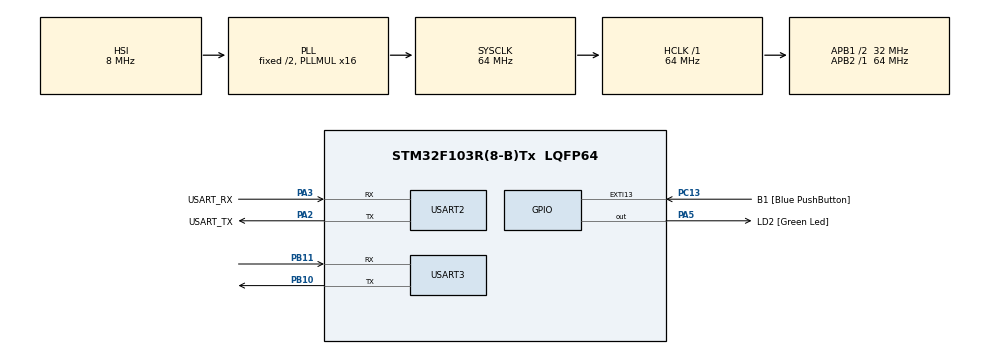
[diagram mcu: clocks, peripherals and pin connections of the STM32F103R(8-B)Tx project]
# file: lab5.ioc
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FREERTOS.Tasks01=blink,24,128,StartDefaultTask,Default,NULL,Dynamic,NULL,NULL;rx_cli,23,128,StartTask02,Default,NULL,Dynamic,NULL,NULL;status_cli,25,128,StartTask03,Default,NULL,Dynamic,NULL,NULL
Mcu.Family=STM32F1
Mcu.Name=STM32F103R(8-B)Tx
Mcu.Package=LQFP64
NVIC.EXTI15_10_IRQn=true\:0\:0\:false\:false\:true\:false\:true\:true
NVIC.PriorityGroup=NVIC_PRIORITYGROUP_4
NVIC.TIM4_IRQn=true\:0\:0\:false\:false\:true\:false\:false\:true
NVIC.TimeBase=TIM4_IRQn
NVIC.TimeBaseIP=TIM4
PA13.GPIO_Label=TMS
PA13.Mode=Serial_Wire
PA13.Signal=SYS_JTMS-SWDIO
PA14.GPIO_Label=TCK
PA14.Mode=Serial_Wire
PA14.Signal=SYS_JTCK-SWCLK
PA2.GPIO_Label=USART_TX
PA2.GPIO_Mode=GPIO_MODE_AF_PP
PA2.GPIO_PuPd=GPIO_NOPULL
PA2.GPIO_Speed=GPIO_SPEED_FREQ_LOW
PA2.Mode=Asynchronous
PA2.Signal=USART2_TX
PA3.GPIO_Label=USART_RX
PA3.GPIO_Mode=GPIO_MODE_AF_PP
PA3.GPIO_PuPd=GPIO_NOPULL
PA3.GPIO_Speed=GPIO_SPEED_FREQ_LOW
PA3.Mode=Asynchronous
PA3.Signal=USART2_RX
PA5.GPIO_Label=LD2 [Green Led]
PA5.GPIO_ModeDefaultOutputPP=GPIO_MODE_OUTPUT_PP
PA5.GPIO_PuPd=GPIO_NOPULL
PA5.GPIO_Speed=GPIO_SPEED_FREQ_LOW
PA5.Signal=GPIO_Output
PB10.Mode=Asynchronous
PB10.Signal=USART3_TX
PB11.Mode=Asynchronous
PB11.Signal=USART3_RX
PB3.GPIO_Label=SWO
PB3.Signal=SYS_JTDO-TRACESWO
PC13-TAMPER-RTC.GPIO_Label=B1 [Blue PushButton]
PC13-TAMPER-RTC.GPIO_PuPd=GPIO_NOPULL
PC13-TAMPER-RTC.Signal=GPXTI13
PC14-OSC32_IN.Mode=LSE-External-Oscillator
PC14-OSC32_IN.Signal=RCC_OSC32_IN
PC15-OSC32_OUT.Mode=LSE-External-Oscillator
PC15-OSC32_OUT.Signal=RCC_OSC32_OUT
PD0-OSC_IN.Mode=HSE-External-Clock-Source
PD0-OSC_IN.Signal=RCC_OSC_IN
PD1-OSC_OUT.Mode=HSE-External-Clock-Source
PD1-OSC_OUT.Signal=RCC_OSC_OUT
ProjectManager.HeapSize=0x200
ProjectManager.StackSize=0x400
ProjectManager.TargetToolchain=STM32CubeIDE
RCC.AHBFreq_Value=64000000
RCC.APB1CLKDivider=RCC_HCLK_DIV2
RCC.APB1Freq_Value=32000000
RCC.APB1TimFreq_Value=64000000
RCC.APB2Freq_Value=64000000
RCC.APB2TimFreq_Value=64000000
RCC.HCLKFreq_Value=64000000
RCC.PLLMUL=RCC_PLL_MUL16
RCC.RTCClockSelection=RCC_RTCCLKSOURCE_LSE
RCC.SYSCLKFreq_VALUE=64000000
RCC.SYSCLKSource=RCC_SYSCLKSOURCE_PLLCLK
RCC.USBFreq_Value=64000000
USART2.VirtualMode=VM_ASYNC
USART3.VirtualMode=VM_ASYNC
VP_FREERTOS_VS_CMSIS_V2.Mode=CMSIS_V2
VP_SYS_VS_tim4.Mode=TIM4
board=NUCLEO-F103RB

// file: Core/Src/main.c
/* USER CODE BEGIN Header */
/**
  ******************************************************************************
  * @file           : main.c
  * @brief          : Main program body
  ******************************************************************************
  * @attention
  *
  * <h2><center>&copy; Copyright (c) 2020 STMicroelectronics.
  * All rights reserved.</center></h2>
  *
  * This software component is licensed by ST under BSD 3-Clause license,
  * the "License"; You may not use this file except in compliance with the
  * License. You may obtain a copy of the License at:
  *                        opensource.org/licenses/BSD-3-Clause
  *
  ******************************************************************************
  */
/* USER CODE END Header */
#include "main.h"
#include "cmsis_os.h"
#include "stdbool.h"

UART_HandleTypeDef huart2;
UART_HandleTypeDef huart3;

/* Definitions for blink */
osThreadId_t blinkHandle;
const osThreadAttr_t blink_attributes = {
  .name = "blink",
  .priority = (osPriority_t) osPriorityNormal,
  .stack_size = 128 * 4
};
/* Definitions for rx_cli */
osThreadId_t rx_cliHandle;
const osThreadAttr_t rx_cli_attributes = {
  .name = "rx_cli",
  .priority = (osPriority_t) osPriorityBelowNormal7,
  .stack_size = 128 * 4
};
/* Definitions for status_cli */
osThreadId_t status_cliHandle;
const osThreadAttr_t status_cli_attributes = {
  .name = "status_cli",
  .priority = (osPriority_t) osPriorityNormal1,
  .stack_size = 128 * 4
};
/* USER CODE BEGIN PV */
int8_t i=0;flag=0;
uint8_t *p;
uint16_t period = 100;clirxchar=0;
uint8_t cliBufferTX[200];
uint8_t cliBufferRX[20];
bool Newperiod = false;
/* USER CODE END PV */

void SystemClock_Config(void);
static void MX_GPIO_Init(void);
static void MX_USART2_UART_Init(void);
static void MX_USART3_UART_Init(void);
void StartDefaultTask(void *argument);
void StartTask02(void *argument);
void StartTask03(void *argument);

int main(void)
{

  /* MCU Configuration--------------------------------------------------------*/

  /* Reset of all peripherals, Initializes the Flash interface and the Systick. */
  HAL_Init();

  /* Configure the system clock */
  SystemClock_Config();

  /* Initialize all configured peripherals */
  MX_GPIO_Init();
  MX_USART2_UART_Init();
  MX_USART3_UART_Init();
  /* USER CODE BEGIN 2 */

  strcpy((char*)cliBufferTX, "\x1b[2J");                                         /*clear the screen*/
  HAL_UART_Transmit(&huart3, cliBufferTX, strlen((char*)cliBufferTX),1000);
  strcpy((char*)cliBufferTX, "\x1b[0;0H");                                      /*position the cursor*/
  HAL_UART_Transmit(&huart3, cliBufferTX, strlen((char*)cliBufferTX),1000);
  HAL_UART_Transmit(&huart3, "period:  00100", 14,1000);

  strcpy((char*)cliBufferTX, "\x1b[10;r");                                       /*scroll window*/
  HAL_UART_Transmit(&huart3, cliBufferTX, strlen((char*)cliBufferTX),1000);

  strcpy((char*)cliBufferTX, "\x1b[10;0H");                                      /*position the cursor*/
  HAL_UART_Transmit(&huart3, cliBufferTX, strlen((char*)cliBufferTX),1000);

   strcpy((char*)cliBufferTX, "Testing CLI!\r\n");
   HAL_UART_Transmit(&huart3, cliBufferTX, strlen((char*)cliBufferTX),1000);

   //HAL_Delay(2000);

  /* USER CODE END 2 */

  /* Init scheduler */
  osKernelInitialize();

  /* Create the thread(s) */
  /* creation of blink */
  blinkHandle = osThreadNew(StartDefaultTask, NULL, &blink_attributes);

  /* creation of rx_cli */
  rx_cliHandle = osThreadNew(StartTask02, NULL, &rx_cli_attributes);

  /* creation of status_cli */
  status_cliHandle = osThreadNew(StartTask03, NULL, &status_cli_attributes);

  /* Start scheduler */
  osKernelStart();

  /* We should never get here as control is now taken by the scheduler */
  /* Infinite loop */
  while (1)
  {

  }
}

void SystemClock_Config(void)
{
  RCC_OscInitTypeDef RCC_OscInitStruct = {0};
  RCC_ClkInitTypeDef RCC_ClkInitStruct = {0};

  /** Initializes the RCC Oscillators according to the specified parameters
  * in the RCC_OscInitTypeDef structure.
  */
  RCC_OscInitStruct.OscillatorType = RCC_OSCILLATORTYPE_HSI;
  RCC_OscInitStruct.HSIState = RCC_HSI_ON;
  RCC_OscInitStruct.HSICalibrationValue = RCC_HSICALIBRATION_DEFAULT;
  RCC_OscInitStruct.PLL.PLLState = RCC_PLL_ON;
  RCC_OscInitStruct.PLL.PLLSource = RCC_PLLSOURCE_HSI_DIV2;
  RCC_OscInitStruct.PLL.PLLMUL = RCC_PLL_MUL16;
  if (HAL_RCC_OscConfig(&RCC_OscInitStruct) != HAL_OK)
  {
    Error_Handler();
  }
  /** Initializes the CPU, AHB and APB buses clocks
  */
  RCC_ClkInitStruct.ClockType = RCC_CLOCKTYPE_HCLK|RCC_CLOCKTYPE_SYSCLK
                              |RCC_CLOCKTYPE_PCLK1|RCC_CLOCKTYPE_PCLK2;
  RCC_ClkInitStruct.SYSCLKSource = RCC_SYSCLKSOURCE_PLLCLK;
  RCC_ClkInitStruct.AHBCLKDivider = RCC_SYSCLK_DIV1;
  RCC_ClkInitStruct.APB1CLKDivider = RCC_HCLK_DIV2;
  RCC_ClkInitStruct.APB2CLKDivider = RCC_HCLK_DIV1;

  if (HAL_RCC_ClockConfig(&RCC_ClkInitStruct, FLASH_LATENCY_2) != HAL_OK)
  {
    Error_Handler();
  }
}

static void MX_USART2_UART_Init(void)
{

  huart2.Instance = USART2;
  huart2.Init.BaudRate = 115200;
  huart2.Init.WordLength = UART_WORDLENGTH_8B;
  huart2.Init.StopBits = UART_STOPBITS_1;
  huart2.Init.Parity = UART_PARITY_NONE;
  huart2.Init.Mode = UART_MODE_TX_RX;
  huart2.Init.HwFlowCtl = UART_HWCONTROL_NONE;
  huart2.Init.OverSampling = UART_OVERSAMPLING_16;
  if (HAL_UART_Init(&huart2) != HAL_OK)
  {
    Error_Handler();
  }

}

static void MX_USART3_UART_Init(void)
{

  huart3.Instance = USART3;
  huart3.Init.BaudRate = 9600;
  huart3.Init.WordLength = UART_WORDLENGTH_8B;
  huart3.Init.StopBits = UART_STOPBITS_1;
  huart3.Init.Parity = UART_PARITY_NONE;
  huart3.Init.Mode = UART_MODE_TX_RX;
  huart3.Init.HwFlowCtl = UART_HWCONTROL_NONE;
  huart3.Init.OverSampling = UART_OVERSAMPLING_16;
  if (HAL_UART_Init(&huart3) != HAL_OK)
  {
    Error_Handler();
  }

}

static void MX_GPIO_Init(void)
{
  GPIO_InitTypeDef GPIO_InitStruct = {0};

  /* GPIO Ports Clock Enable */
  __HAL_RCC_GPIOC_CLK_ENABLE();
  __HAL_RCC_GPIOD_CLK_ENABLE();
  __HAL_RCC_GPIOA_CLK_ENABLE();
  __HAL_RCC_GPIOB_CLK_ENABLE();

  /*Configure GPIO pin Output Level */
  HAL_GPIO_WritePin(LD2_GPIO_Port, LD2_Pin, GPIO_PIN_RESET);

  /*Configure GPIO pin : B1_Pin */
  GPIO_InitStruct.Pin = B1_Pin;
  GPIO_InitStruct.Mode = GPIO_MODE_IT_RISING;
  GPIO_InitStruct.Pull = GPIO_NOPULL;
  HAL_GPIO_Init(B1_GPIO_Port, &GPIO_InitStruct);

  /*Configure GPIO pin : LD2_Pin */
  GPIO_InitStruct.Pin = LD2_Pin;
  GPIO_InitStruct.Mode = GPIO_MODE_OUTPUT_PP;
  GPIO_InitStruct.Pull = GPIO_NOPULL;
  GPIO_InitStruct.Speed = GPIO_SPEED_FREQ_LOW;
  HAL_GPIO_Init(LD2_GPIO_Port, &GPIO_InitStruct);

  /* EXTI interrupt init*/
  HAL_NVIC_SetPriority(EXTI15_10_IRQn, 0, 0);
  HAL_NVIC_EnableIRQ(EXTI15_10_IRQn);

}

void StartDefaultTask(void *argument)
{
  /* USER CODE BEGIN 5 */
  /* Infinite loop */
  for(;;)
  {
	if(uwTick%period==0)
	HAL_GPIO_TogglePin(GPIOA,LD2_Pin);
    osDelay(1);
  }
  /* USER CODE END 5 */
}

void StartTask02(void *argument)
{
  /* USER CODE BEGIN StartTask02 */
  /* Infinite loop */
  for(;;)
  {
	  if((HAL_UART_Receive(&huart3,cliBufferRX, 1,300) == HAL_OK))
	  {
		  cliBufferTX[i] = cliBufferRX[0];
		  if( cliBufferTX[i]=='\r')
		  {
			cliBufferTX[i]='\0';
			cliBufferRX[0]='\r';
			cliBufferRX[1]='\n';
			HAL_UART_Transmit(&huart3,cliBufferRX,2,1000);
			if(strcmp(cliBufferTX,"period ")==0)
			  {
				period = clirxchar;
                Newperiod = true;
			  }

			 else
			  { strcpy(( char*)cliBufferTX, "error\r\n");
				HAL_UART_Transmit(&huart3, cliBufferTX, strlen((char*)cliBufferTX),1000);
			  }
			i=0;
			flag=0;
			clirxchar=0;

		  }

		else if( cliBufferTX[i]=='\177')
			{
			  p=&cliBufferTX[i];
			  HAL_UART_Transmit(&huart3,p,1,1000);
			  i--;
			  if(i<0) i=0;
			}

		else if( cliBufferTX[i]==' ')
		    {
			   flag = 1;
			   p=&cliBufferTX[i];
			   HAL_UART_Transmit(&huart3,p,1,1000);
			   i++;
		    }

		     else
			{
		    	 if(flag==0)
		    	  {
			        p=&cliBufferTX[i];
			        HAL_UART_Transmit(&huart3,p,1,1000);
			        i++;
		    	  }
		    	 else
		    	  {  if(cliBufferRX[0]>=0x30 && cliBufferRX[0]<=0x39)
		    	      {
		    		    cliBufferRX[0] = cliBufferRX[0] - 0x30;
		    		    clirxchar = clirxchar *10 + cliBufferRX[0];
		    		    p=&cliBufferTX[i];
		    		   	HAL_UART_Transmit(&huart3,p,1,1000);
		    		   	//i++;
		    	      }
		    	  }
			}
	}

    osDelay(1);
  }
  /* USER CODE END StartTask02 */
}

void StartTask03(void *argument)
{
  /* USER CODE BEGIN StartTask03 */
  /* Infinite loop */

	uint8_t j;
  for(;;)
  {
	if(Newperiod==true)
	{
	  strcpy((char*)cliBufferRX, "\x1b[s");                                            /*save cursor*/
	  HAL_UART_Transmit(&huart3, cliBufferRX, strlen((char*)cliBufferRX),1000);
	  strcpy((char*)cliBufferRX, "\x1b[0;0H");
	  HAL_UART_Transmit(&huart3, cliBufferRX, strlen((char*)cliBufferRX),1000);
      strcpy((char*)cliBufferRX, "period:  ");
      HAL_UART_Transmit(&huart3,cliBufferRX, strlen((char*)cliBufferRX),1000);

      uint16_t temp = period;
      for( j=0;j<5;j++)
       {  cliBufferRX[4-j]=(temp%10)^0x30;
          temp=temp/10;
       }

      cliBufferRX[5]='\0';
      HAL_UART_Transmit(&huart3,cliBufferRX, strlen((char*)cliBufferRX),1000);

      strcpy((char*)cliBufferRX, "\x1b[u");                                            /*恢复光标*/
	  HAL_UART_Transmit(&huart3, cliBufferRX, strlen((char*)cliBufferRX),1000);
	  Newperiod = false;
	}

    osDelay(1);
  }
  /* USER CODE END StartTask03 */
}

void HAL_TIM_PeriodElapsedCallback(TIM_HandleTypeDef *htim)
{
  if (htim->Instance == TIM4) {
    HAL_IncTick();
  }
}

void Error_Handler(void)
{
}

/************************ (C) COPYRIGHT STMicroelectronics *****END OF FILE****/
